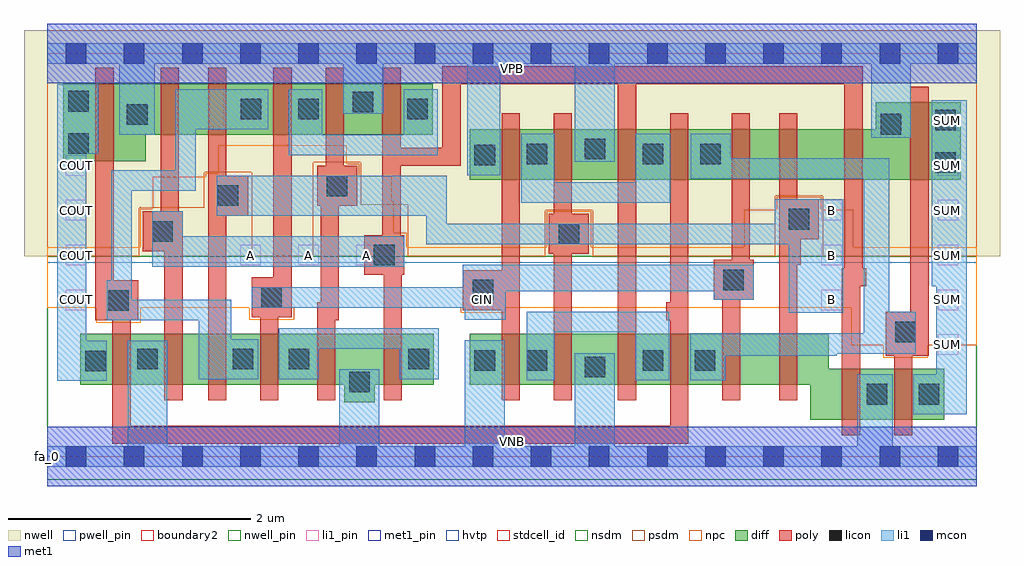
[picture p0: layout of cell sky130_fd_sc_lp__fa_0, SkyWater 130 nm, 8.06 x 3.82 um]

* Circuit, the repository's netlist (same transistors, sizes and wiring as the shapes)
* Copyright 2020 The SkyWater PDK Authors
*
* Licensed under the Apache License, Version 2.0 (the "License");
* you may not use this file except in compliance with the License.
* You may obtain a copy of the License at
*
*     https://www.apache.org/licenses/LICENSE-2.0
*
* Unless required by applicable law or agreed to in writing, software
* distributed under the License is distributed on an "AS IS" BASIS,
* WITHOUT WARRANTIES OR CONDITIONS OF ANY KIND, either express or implied.
* See the License for the specific language governing permissions and
* limitations under the License.
*
* SPDX-License-Identifier: Apache-2.0

.SUBCKT sky130_fd_sc_lp__fa_0 A B CIN VGND VNB VPB VPWR COUT SUM
*.PININFO A:I B:I CIN:I VGND:I VNB:I VPB:I VPWR:I COUT:O SUM:O
MMIN2 COUT majb VGND VNB sky130_fd_pr__nfet_01v8 m=1 w=0.42U l=0.15U mult=1 sa=0.265
+ sb=0.265 sd=0.28 area=0.063 perim=1.14
MMIN3 SUM sumb VGND VNB sky130_fd_pr__nfet_01v8 m=1 w=0.42U l=0.15U mult=1 sa=0.265
+ sb=0.265 sd=0.28 area=0.063 perim=1.14
MMNmaj10 majb B sndNAp1 VNB sky130_fd_pr__nfet_01v8 m=1 w=0.42U l=0.15U mult=1
+ sa=0.265 sb=0.265 sd=0.28 area=0.063 perim=1.14
MMNmaj11 sndNAp1 A VGND VNB sky130_fd_pr__nfet_01v8 m=1 w=0.42U l=0.15U mult=1
+ sa=0.265 sb=0.265 sd=0.28 area=0.063 perim=1.14
MMNmaj30 majb CIN sndNCINn3 VNB sky130_fd_pr__nfet_01v8 m=1 w=0.42U l=0.15U mult=1
+ sa=0.265 sb=0.265 sd=0.28 area=0.063 perim=1.14
MMNmaj31 sndNCINn3 B VGND VNB sky130_fd_pr__nfet_01v8 m=1 w=0.42U l=0.15U mult=1
+ sa=0.265 sb=0.265 sd=0.28 area=0.063 perim=1.14
MMNmaj20 VGND A sndNCINn3 VNB sky130_fd_pr__nfet_01v8 m=1 w=0.42U l=0.15U mult=1
+ sa=0.265 sb=0.265 sd=0.28 area=0.063 perim=1.14
MMNs2s0 VGND A sndNAn4 VNB sky130_fd_pr__nfet_01v8 m=1 w=0.42U l=0.15U mult=1 sa=0.265
+ sb=0.265 sd=0.28 area=0.063 perim=1.14
MMNs2s1 sndNAn4 B sndNBn4 VNB sky130_fd_pr__nfet_01v8 m=1 w=0.42U l=0.15U mult=1
+ sa=0.265 sb=0.265 sd=0.28 area=0.063 perim=1.14
MMNs2s2 sndNBn4 CIN sumb VNB sky130_fd_pr__nfet_01v8 m=1 w=0.42U l=0.15U mult=1
+ sa=0.265 sb=0.265 sd=0.28 area=0.063 perim=1.14
MMNs3s0 nint1 B VGND VNB sky130_fd_pr__nfet_01v8 m=1 w=0.42U l=0.15U mult=1 sa=0.265
+ sb=0.265 sd=0.28 area=0.063 perim=1.14
MMNs3s1 nint1 A VGND VNB sky130_fd_pr__nfet_01v8 m=1 w=0.42U l=0.15U mult=1 sa=0.265
+ sb=0.265 sd=0.28 area=0.063 perim=1.14
MMNs3s2 nint1 CIN VGND VNB sky130_fd_pr__nfet_01v8 m=1 w=0.42U l=0.15U mult=1 sa=0.265
+ sb=0.265 sd=0.28 area=0.063 perim=1.14
MMNs1s nint1 majb sumb VNB sky130_fd_pr__nfet_01v8 m=1 w=0.42U l=0.15U mult=1 sa=0.265
+ sb=0.265 sd=0.28 area=0.063 perim=1.14
MMIP2 COUT majb VPWR VPB sky130_fd_pr__pfet_01v8_hvt m=1 w=0.64U l=0.15U mult=1
+ sa=0.265 sb=0.265 sd=0.28 area=0.063 perim=1.14
MMIP3 SUM sumb VPWR VPB sky130_fd_pr__pfet_01v8_hvt m=1 w=0.64U l=0.15U mult=1
+ sa=0.265 sb=0.265 sd=0.28 area=0.063 perim=1.14
MMPmaj10 VPWR A sndPAp1 VPB sky130_fd_pr__pfet_01v8_hvt m=1 w=0.42U l=0.15U mult=1
+ sa=0.265 sb=0.265 sd=0.28 area=0.063 perim=1.14
MMPmaj11 sndPAp1 B majb VPB sky130_fd_pr__pfet_01v8_hvt m=1 w=0.42U l=0.15U mult=1
+ sa=0.265 sb=0.265 sd=0.28 area=0.063 perim=1.14
MMPmaj20 VPWR A sndPCINp3 VPB sky130_fd_pr__pfet_01v8_hvt m=1 w=0.42U l=0.15U mult=1
+ sa=0.265 sb=0.265 sd=0.28 area=0.063 perim=1.14
MMPmaj21 sndPCINp3 CIN majb VPB sky130_fd_pr__pfet_01v8_hvt m=1 w=0.42U l=0.15U mult=1
+ sa=0.265 sb=0.265 sd=0.28 area=0.063 perim=1.14
MMPmaj31 sndPCINp3 B VPWR VPB sky130_fd_pr__pfet_01v8_hvt m=1 w=0.42U l=0.15U mult=1
+ sa=0.265 sb=0.265 sd=0.28 area=0.063 perim=1.14
MMPs2s0 VPWR A sndPAp4 VPB sky130_fd_pr__pfet_01v8_hvt m=1 w=0.42U l=0.15U mult=1
+ sa=0.265 sb=0.265 sd=0.28 area=0.063 perim=1.14
MMPs2s1 sndPAp4 B sndPBp4 VPB sky130_fd_pr__pfet_01v8_hvt m=1 w=0.42U l=0.15U mult=1
+ sa=0.265 sb=0.265 sd=0.28 area=0.063 perim=1.14
MMPs2s2 sndPBp4 CIN sumb VPB sky130_fd_pr__pfet_01v8_hvt m=1 w=0.42U l=0.15U mult=1
+ sa=0.265 sb=0.265 sd=0.28 area=0.063 perim=1.14
MMPs3s0 pint1 B VPWR VPB sky130_fd_pr__pfet_01v8_hvt m=1 w=0.42U l=0.15U mult=1
+ sa=0.265 sb=0.265 sd=0.28 area=0.063 perim=1.14
MMPs3s1 pint1 A VPWR VPB sky130_fd_pr__pfet_01v8_hvt m=1 w=0.42U l=0.15U mult=1
+ sa=0.265 sb=0.265 sd=0.28 area=0.063 perim=1.14
MMPs3s2 pint1 CIN VPWR VPB sky130_fd_pr__pfet_01v8_hvt m=1 w=0.42U l=0.15U mult=1
+ sa=0.265 sb=0.265 sd=0.28 area=0.063 perim=1.14
MMPs1s pint1 majb sumb VPB sky130_fd_pr__pfet_01v8_hvt m=1 w=0.42U l=0.15U mult=1
+ sa=0.265 sb=0.265 sd=0.28 area=0.063 perim=1.14
.ENDS sky130_fd_sc_lp__fa_0

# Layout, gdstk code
import gdstk
lib = gdstk.Library(unit=1e-6, precision=1e-09)
def R(c, l, rs):  # rectangles x0, y0, x1, y1
    for r in rs: c.add(gdstk.rectangle(r[:2], r[2:], *l))
def A(c, l, x, y, w, h, nx, ny, dx, dy):  # array of equal rectangles
    R(c, l, [(x+i*dx, y+j*dy, x+i*dx+w, y+j*dy+h) for i in range(nx) for j in range(ny)])
def P(c, l, *ps):  # polygons
    for p in ps: c.add(gdstk.Polygon(p, *l))
nwell_pin = (64, 16)
nwell = (64, 20)
diff = (65, 20)
poly = (66, 20)
licon = (66, 44)
li1_pin = (67, 16)
li1 = (67, 20)
mcon = (67, 44)
met1_pin = (68, 16)
met1 = (68, 20)
hvtp = (78, 44)
stdcell_id = (81, 4)
nsdm = (93, 44)
psdm = (94, 20)
npc = (95, 20)
pwell_pin = (122, 16)
boundary2 = (236, 0)

sky130_fd_sc_lp__fa_0 = lib.new_cell('sky130_fd_sc_lp__fa_0')
R(sky130_fd_sc_lp__fa_0, nwell_pin, [(0,3.085,7.68,3.33)])
R(sky130_fd_sc_lp__fa_0, nwell, [(-0.19,1.655,7.87,3.52)])
P(sky130_fd_sc_lp__fa_0, diff, [(3.185,3.08),(0.135,3.08),(0.135,2.44),(0.815,2.44),(0.815,2.66),(3.185,2.66)],
  [(3.195,1.015),(0.275,1.015),(0.275,0.595),(2.455,0.595),(2.455,0.45),(2.705,0.45),(2.705,0.595),(3.195,0.595)],
  [(7.41,0.725),(6.455,0.725),(6.455,1.015),(3.49,1.015),(3.49,0.595),(6.305,0.595),(6.305,0.305),(7.41,0.305)],
  [(7.545,2.925),(6.845,2.925),(6.845,2.705),(3.49,2.705),(3.49,2.285),(7.545,2.285)])
P(sky130_fd_sc_lp__fa_0, poly, [(1.12,2.025),(1.09,2.025),(1.09,3.21),(0.94,3.21),(0.94,2.025),(0.79,2.025),(0.79,1.695),(0.97,1.695),(0.97,0.465),(1.12,0.465)],
  [(1.66,2.32),(1.48,2.32),(1.48,3.21),(1.33,3.21),(1.33,0.465),(1.48,0.465),(1.48,1.99),(1.66,1.99)],
  [(2.02,3.21),(1.87,3.21),(1.87,1.48),(1.69,1.48),(1.69,1.15),(1.76,1.15),(1.76,0.465),(1.91,0.465),(1.91,1.15),(2.02,1.15)],
  [(2.56,2.4),(2.45,2.4),(2.45,3.21),(2.3,3.21),(2.3,2.4),(2.23,2.4),(2.23,2.07),(2.26,2.07),(2.26,1.275),(2.23,1.275),(2.23,0.465),(2.38,0.465),(2.38,1.125),(2.41,1.125),(2.41,2.07),(2.56,2.07)],
  [(3.905,2.835),(3.755,2.835),(3.755,1.54),(3.435,1.54),(3.435,1.21),(3.755,1.21),(3.755,0.465),(3.905,0.465)],
  [(4.475,2.005),(4.335,2.005),(4.335,2.835),(4.185,2.835),(4.185,2.005),(4.145,2.005),(4.145,1.675),(4.185,1.675),(4.185,0.465),(4.335,0.465),(4.335,1.675),(4.475,1.675)],
  [(5.295,2.835),(5.145,2.835),(5.145,1.275),(5.115,1.275),(5.115,1.125),(5.145,1.125),(5.145,0.255),(0.69,0.255),(0.69,1.125),(0.755,1.125),(0.755,1.455),(0.55,1.455),(0.55,3.21),(0.4,3.21),(0.4,1.125),(0.54,1.125),(0.54,0.105),(5.295,0.105)],
  [(5.835,1.625),(5.805,1.625),(5.805,2.835),(5.655,2.835),(5.655,1.625),(5.505,1.625),(5.505,1.295),(5.575,1.295),(5.575,0.465),(5.725,0.465),(5.725,1.295),(5.835,1.295)],
  [(6.375,2.125),(6.195,2.125),(6.195,2.835),(6.045,2.835),(6.045,0.465),(6.195,0.465),(6.195,1.585),(6.225,1.585),(6.225,1.795),(6.375,1.795)],
  [(6.765,1.555),(6.735,1.555),(6.735,3.225),(3.265,3.225),(3.265,2.55),(2.92,2.55),(2.92,3.21),(2.77,3.21),(2.77,1.83),(2.62,1.83),(2.62,1.5),(2.78,1.5),(2.78,0.465),(2.93,0.465),(2.93,1.5),(2.95,1.5),(2.95,1.83),(2.92,1.83),(2.92,2.4),(3.415,2.4),(3.415,3.075),(4.715,3.075),(4.715,0.465),(4.865,0.465),(4.865,3.075),(6.585,3.075),(6.585,1.555),(6.565,1.555),(6.565,0.175),(6.715,0.175),(6.715,1.405),(6.765,1.405)],
  [(7.28,3.055),(7.13,3.055),(7.13,1.195),(6.925,1.195),(6.925,0.835),(6.995,0.835),(6.995,0.175),(7.145,0.175),(7.145,0.835),(7.28,0.835)])
R(sky130_fd_sc_lp__fa_0, licon, [(6.77,0.43,6.94,0.6), (7.2,0.43,7.37,0.6), (2.495,0.53,2.665,0.7), (4.44,0.655,4.61,0.825), (0.315,0.705,0.485,0.875), (3.53,0.71,3.7,0.88), (3.96,0.71,4.13,0.88), (4.92,0.71,5.09,0.88), (5.35,0.71,5.52,0.88), (0.745,0.72,0.915,0.89), (1.535,0.72,1.705,0.89), (1.995,0.72,2.165,0.89), (2.985,0.72,3.155,0.89), (7.005,0.945,7.175,1.115), (0.505,1.205,0.675,1.375), (1.77,1.23,1.94,1.4), (3.515,1.29,3.685,1.46), (5.585,1.375,5.755,1.545), (2.7,1.58,2.87,1.75), (4.225,1.755,4.395,1.925), (0.87,1.775,1.04,1.945), (6.125,1.875,6.295,2.045), (1.41,2.07,1.58,2.24), (2.31,2.15,2.48,2.32), (7.335,2.345,7.505,2.515), (3.53,2.405,3.7,2.575), (3.96,2.415,4.13,2.585), (4.92,2.415,5.09,2.585), (5.395,2.415,5.565,2.585), (4.44,2.455,4.61,2.625), (0.175,2.5,0.345,2.67), (6.885,2.66,7.055,2.83), (7.335,2.695,7.505,2.865), (0.66,2.74,0.83,2.91), (1.6,2.785,1.77,2.955), (2.075,2.785,2.245,2.955), (2.975,2.785,3.145,2.955), (2.525,2.845,2.695,3.015), (0.175,2.85,0.345,3.02)])
A(sky130_fd_sc_lp__fa_0, li1_pin, 7.355, 0.84, 0.17, 0.17, 1, 6, 0, 0.37)
A(sky130_fd_sc_lp__fa_0, li1_pin, 0.155, 1.21, 0.17, 0.17, 1, 4, 0, 0.37)
A(sky130_fd_sc_lp__fa_0, li1_pin, 6.395, 1.21, 0.17, 0.17, 1, 3, 0, 0.37)
A(sky130_fd_sc_lp__fa_0, li1_pin, 1.595, 1.58, 0.17, 0.17, 3, 1, 0.48, 0)
R(sky130_fd_sc_lp__fa_0, li1_pin, [(3.515,1.21,3.685,1.38)])
P(sky130_fd_sc_lp__fa_0, li1, [(4.36,2.435),(4.36,3.245),(3.745,3.245),(3.745,2.325),(3.47,2.325),(3.47,3.245),(2.775,3.245),(2.775,2.83),(2.445,2.83),(2.445,3.245),(0.89,3.245),(0.89,2.66),(0.595,2.66),(0.595,3.245),(0,3.245),(0,3.415),(7.68,3.415),(7.68,3.245),(7.135,3.245),(7.135,2.635),(6.805,2.635),(6.805,3.245),(4.69,3.245),(4.69,2.435)],
  [(2.415,0.085),(2.415,0.72),(2.745,0.72),(2.745,0.085),(3.45,0.085),(3.45,0.96),(3.78,0.96),(3.78,0.085),(4.36,0.085),(4.36,0.855),(4.69,0.855),(4.69,0.085),(6.69,0.085),(6.69,0.68),(6.985,0.68),(6.985,0.085),(7.68,0.085),(7.68,-0.085),(0,-0.085),(0,0.085),(0.665,0.085),(0.665,0.955),(0.995,0.955),(0.995,0.085)],
  [(1.12,1.82),(2.95,1.82),(2.95,1.57),(0.87,1.57),(0.87,2.025),(1.12,2.025)],
  [(1.4,1.99),(1.4,2.32),(3.3,2.32),(3.3,1.925),(6.01,1.925),(6.01,2.125),(6.575,2.125),(6.575,1.19),(6.125,1.19),(6.125,1.755),(3.13,1.755),(3.13,1.99)],
  [(5.835,1.585),(3.435,1.585),(3.435,1.4),(1.69,1.4),(1.69,1.23),(3.45,1.23),(3.45,1.13),(3.79,1.13),(3.79,1.365),(5.505,1.365),(5.505,1.295),(5.835,1.295)],
  [(7.345,0.68),(7.345,1.405),(7.305,1.405),(7.305,2.945),(7.595,2.945),(7.595,0.35),(7.155,0.35),(7.155,0.68)],
  [(7.175,1.195),(6.955,1.195),(6.955,2.465),(5.645,2.465),(5.645,2.665),(5.315,2.665),(5.315,2.295),(6.745,2.295),(6.745,1.02),(5.31,1.02),(5.31,0.63),(5.6,0.63),(5.6,0.835),(6.52,0.835),(6.52,0.85),(7.175,0.85)],
  [(0.325,2.5),(0.325,0.955),(0.495,0.955),(0.495,0.625),(0.085,0.625),(0.085,3.075),(0.425,3.075),(0.425,2.5)],
  [(4.86,1.025),(4.19,1.025),(4.19,0.63),(3.96,0.63),(3.96,1.195),(5.14,1.195),(5.14,0.63),(4.86,0.63)],
  [(2.915,0.89),(2.245,0.89),(2.245,0.64),(1.915,0.64),(1.915,1.06),(3.235,1.06),(3.235,0.64),(2.915,0.64)],
  [(2.945,2.66),(2.945,3.035),(3.225,3.035),(3.225,2.49),(1.995,2.49),(1.995,3.035),(2.275,3.035),(2.275,2.66)],
  [(4.86,2.265),(4.86,2.665),(5.145,2.665),(5.145,2.095),(3.915,2.095),(3.915,2.665),(4.19,2.665),(4.19,2.265)],
  [(1.745,0.97),(1.52,0.97),(1.52,1.295),(0.7,1.295),(0.7,2.195),(1.23,2.195),(1.23,2.705),(1.825,2.705),(1.825,3.035),(1.06,3.035),(1.06,2.365),(0.53,2.365),(0.53,1.455),(0.495,1.455),(0.495,1.125),(1.255,1.125),(1.255,0.64),(1.745,0.64)])
A(sky130_fd_sc_lp__fa_0, mcon, 0.155, -0.085, 0.17, 0.17, 16, 2, 0.48, 3.33)
R(sky130_fd_sc_lp__fa_0, met1_pin, [(0,0,7.68,0.245), (0,3.085,7.68,3.33)])
R(sky130_fd_sc_lp__fa_0, met1, [(0,-0.245,7.68,0.245), (0,3.085,7.68,3.575)])
R(sky130_fd_sc_lp__fa_0, hvtp, [(0,1.6,7.68,3.33)])
R(sky130_fd_sc_lp__fa_0, stdcell_id, [(0,0,7.68,3.33)])
R(sky130_fd_sc_lp__fa_0, nsdm, [(0,-0.19,7.68,1.655)])
P(sky130_fd_sc_lp__fa_0, psdm, [(7.68,3.52),(0,3.52),(0,1.655),(0.76,1.655),(0.76,2.055),(1.3,2.055),(1.3,2.35),(1.69,2.35),(1.69,1.655),(2.2,1.655),(2.2,2.43),(2.59,2.43),(2.59,2.08),(2.98,2.08),(2.98,1.655),(4.115,1.655),(4.115,2.035),(4.505,2.035),(4.505,1.655),(6.015,1.655),(6.015,2.155),(6.405,2.155),(6.405,1.655),(7.68,1.655)])
P(sky130_fd_sc_lp__fa_0, npc, [(7.68,1.73),(6.66,1.73),(6.66,2.04),(6.395,2.04),(6.395,2.145),(6.025,2.145),(6.025,2.04),(5.76,2.04),(5.76,1.73),(4.495,1.73),(4.495,2.025),(4.125,2.025),(4.125,1.73),(2.97,1.73),(2.97,1.85),(2.865,1.85),(2.865,2.115),(2.845,2.115),(2.845,2.315),(2.58,2.315),(2.58,2.42),(2.475,2.42),(2.475,2.57),(1.415,2.57),(1.415,2.34),(1.31,2.34),(1.31,2.31),(0.875,2.31),(0.875,2.045),(0.77,2.045),(0.77,1.73),(0,1.73),(0,1.23),(0.405,1.23),(0.405,1.105),(0.775,1.105),(0.775,1.23),(1.67,1.23),(1.67,1.13),(2.04,1.13),(2.04,1.23),(3.415,1.23),(3.415,1.19),(3.785,1.19),(3.785,1.23),(6.64,1.23),(6.64,0.92),(6.905,0.92),(6.905,0.815),(7.275,0.815),(7.275,0.92),(7.68,0.92)])
R(sky130_fd_sc_lp__fa_0, pwell_pin, [(0,0,7.68,0.245)])
R(sky130_fd_sc_lp__fa_0, boundary2, [(0,0,7.68,3.33)])
sky130_fd_sc_lp__fa_0.add(gdstk.Label('VNB', (3.84,0.123), layer=64, texttype=59))
sky130_fd_sc_lp__fa_0.add(gdstk.Label('VPB', (3.84,3.208), layer=64, texttype=5))
sky130_fd_sc_lp__fa_0.add(gdstk.Label('fa_0', (0,0), layer=83, texttype=44))
sky130_fd_sc_lp__fa_0.add(gdstk.Label('VPWR', (3.84,3.208), layer=68, texttype=5))
sky130_fd_sc_lp__fa_0.add(gdstk.Label('VGND', (3.84,0.123), layer=68, texttype=5))
sky130_fd_sc_lp__fa_0.add(gdstk.Label('A', (1.68,1.665), layer=67, texttype=5))
sky130_fd_sc_lp__fa_0.add(gdstk.Label('A', (2.16,1.665), layer=67, texttype=5))
sky130_fd_sc_lp__fa_0.add(gdstk.Label('A', (2.64,1.665), layer=67, texttype=5))
sky130_fd_sc_lp__fa_0.add(gdstk.Label('COUT', (0.24,1.295), layer=67, texttype=5))
sky130_fd_sc_lp__fa_0.add(gdstk.Label('COUT', (0.24,1.665), layer=67, texttype=5))
sky130_fd_sc_lp__fa_0.add(gdstk.Label('COUT', (0.24,2.035), layer=67, texttype=5))
sky130_fd_sc_lp__fa_0.add(gdstk.Label('COUT', (0.24,2.405), layer=67, texttype=5))
sky130_fd_sc_lp__fa_0.add(gdstk.Label('SUM', (7.44,0.925), layer=67, texttype=5))
sky130_fd_sc_lp__fa_0.add(gdstk.Label('SUM', (7.44,1.295), layer=67, texttype=5))
sky130_fd_sc_lp__fa_0.add(gdstk.Label('SUM', (7.44,1.665), layer=67, texttype=5))
sky130_fd_sc_lp__fa_0.add(gdstk.Label('SUM', (7.44,2.035), layer=67, texttype=5))
sky130_fd_sc_lp__fa_0.add(gdstk.Label('SUM', (7.44,2.405), layer=67, texttype=5))
sky130_fd_sc_lp__fa_0.add(gdstk.Label('SUM', (7.44,2.775), layer=67, texttype=5))
sky130_fd_sc_lp__fa_0.add(gdstk.Label('B', (6.48,1.295), layer=67, texttype=5))
sky130_fd_sc_lp__fa_0.add(gdstk.Label('B', (6.48,1.665), layer=67, texttype=5))
sky130_fd_sc_lp__fa_0.add(gdstk.Label('B', (6.48,2.035), layer=67, texttype=5))
sky130_fd_sc_lp__fa_0.add(gdstk.Label('CIN', (3.6,1.295), layer=67, texttype=5))

lib.write_gds('sky130_fd_sc_lp__fa_0.gds')
